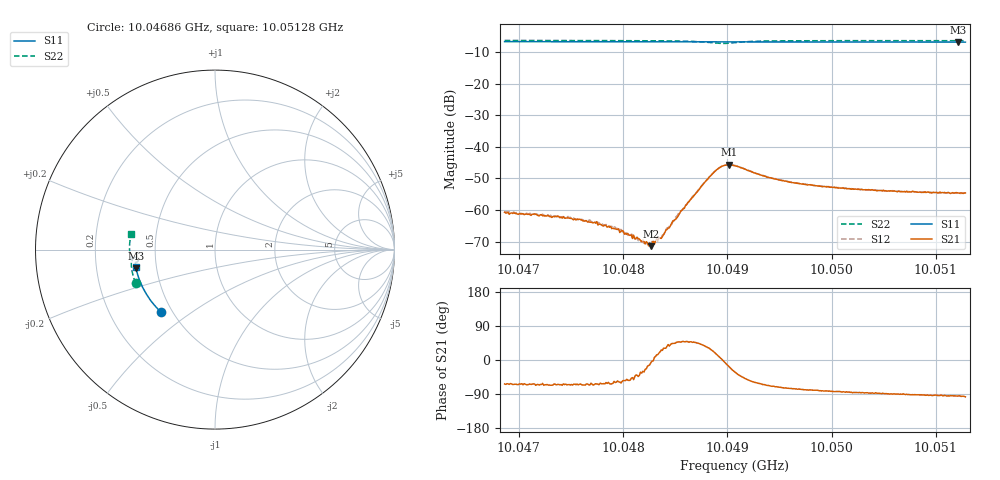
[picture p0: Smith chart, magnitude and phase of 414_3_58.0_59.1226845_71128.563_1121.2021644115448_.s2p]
#  HZ  S  RI  R  50.00
! Rohde & Schwarz Vector Network Analyzer
! Rohde-Schwarz,ZNB20-2Port,1311601062101988,3.16
! Created: UTC 3/21/2024, 1:08:52 AM
! freq[Hz]  re:S11  im:S11  re:S21  im:S21  re:S12  im:S12  re:S22  im:S22
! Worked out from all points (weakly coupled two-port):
!   401 points, 10.04686 GHz to 10.05128 GHz, reference 50 ohm
!   highest |S21| = -45.70 dB at 10.04902 GHz (marker M1); lowest = -71.5 dB at 10.04827 GHz (marker M2)
!   lowest |S11| = -6.9 dB at 10.05122 GHz (marker M3), VSWR 2.65, Z = 19.1 - j4.99 ohm
!   |S11| at or under -10 dB: nowhere
!   |S22| runs from -7.3 to -6.4 dB; largest |S21 - S12| = 0.00035
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1.0046865e10  -0.3004 -0.3482  0.000416 -0.00082  0.000472 -0.000816  -0.4418 -0.188
1.0047152e10  -0.3141 -0.335  0.000391 -0.000775  0.000408 -0.000742  -0.4486 -0.1698
1.0047605e10  -0.3346 -0.3133  0.000288 -0.00063  0.000335 -0.000628  -0.4576 -0.1399
1.0047936e10  -0.3485 -0.2964  0.000259 -0.000422  0.000286 -0.000418  -0.4628 -0.117
1.0048036e10  -0.3526 -0.2913  0.00026 -0.000319  0.000304 -0.00031  -0.464 -0.1097
1.0048091e10  -0.3548 -0.2884  0.000244 -0.000257  0.00029 -0.000286  -0.4648 -0.1056
1.004818e10  -0.3584 -0.2838  0.000264 -0.000179  0.00027 -0.000152  -0.4656 -0.0988
1.0048224e10  -0.36 -0.2816  0.000289 -0.000126  0.00031 -7.61e-05  -0.466 -0.0957
1.0048268e10  -0.3618 -0.279  0.000266 -3.22e-05  0.000299 -1.89e-05  -0.4662 -0.092
1.0048345e10  -0.3647 -0.2749  0.000346 0.000115  0.000321 0.000139  -0.4666 -0.0855
1.0048378e10  -0.3662 -0.2731  0.000343 0.000164  0.000338 0.000212  -0.4666 -0.0827
1.0048522e10  -0.3714 -0.2654  0.000524 0.000568  0.000521 0.000633  -0.4655 -0.07
1.0048621e10  -0.3749 -0.2599  0.00087 0.00098  0.000815 0.001  -0.4629 -0.0603
1.0048853e10  -0.3828 -0.2468  0.00331 0.00158  0.00322 0.00179  -0.4401 -0.0428
1.0048942e10  -0.3856 -0.2421  0.00484 0.000301  0.00483 0.000594  -0.4277 -0.0516
1.0049019e10  -0.3881 -0.2379  0.00492 -0.00165  0.00507 -0.00137  -0.4298 -0.0655
1.0049074e10  -0.39 -0.2347  0.00425 -0.00265  0.00444 -0.00242  -0.4381 -0.0707
1.0049406e10  -0.4005 -0.2156  0.00122 -0.00301  0.00141 -0.00297  -0.469 -0.0483
1.0049815e10  -0.412 -0.1915  0.000451 -0.00244  0.000587 -0.0024  -0.4755 -0.0148
1.0050555e10  -0.429 -0.1459  5.23e-06 -0.002  0.000159 -0.00198  -0.4751 0.0381
1.0051218e10  -0.44 -0.1039  -0.000151 -0.00185  -3.25e-05 -0.00184  -0.469 0.0824
1.0051284e10  -0.441 -0.0997  -0.000232 -0.00184  -5.85e-05 -0.00185  -0.4683 0.0869
